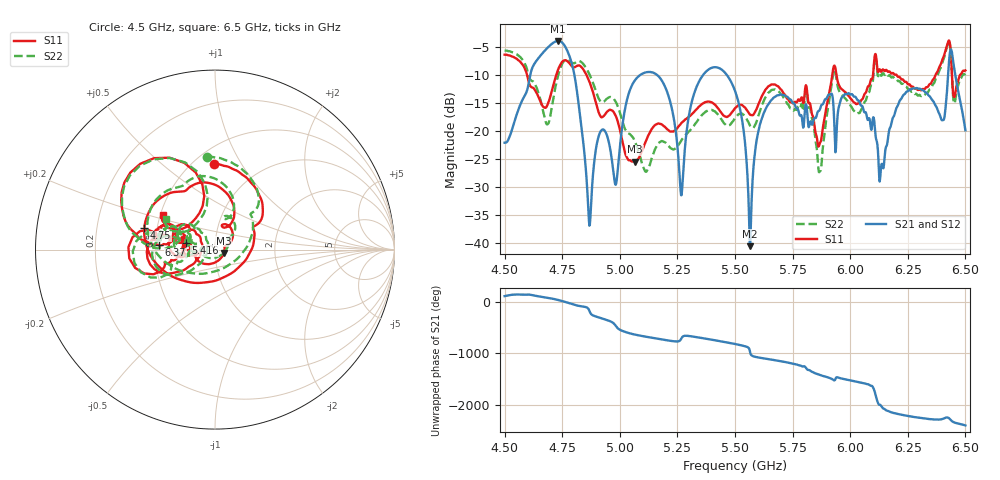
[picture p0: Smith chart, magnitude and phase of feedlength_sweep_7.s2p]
! TOUCHSTONE file generated by CST MICROWAVE STUDIO
! Date and time: Fri Nov 29 14:48:27 2024
! Project name: dual_circularly_polarized_waveguide_antenna.cst
! Parameters = {airCoaxOuterDiameter=3; chamferAngle=45; chamferWidth=24; connectorLength=10; drillingHoleDiameter=4.1; feedLength=120; flareDiameter=130; flareLength=70; gratingDistance=0; gratingGap=1.90274; outletLength=60; polarizerLength=134; probe1Diameter=1.3; probe1Distance=14.068; probe1Len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
! Header version: 2018
! Port assignment regex: !\s*Touchstone port\s*([0-9]+)\s*=\s*(CST MWS port|CST DS port)\s*([0-9]+|Zmin|Zmax)\s*\(\"(.*)\"\)(\s*mode\s*([0-9]+))?.*
! Touchstone port assignment:
! Touchstone port 1 = CST MWS port 1 ("Input1")
! Touchstone port 2 = CST MWS port 2 ("Input2")
# GHz S MA R 50
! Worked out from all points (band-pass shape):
!   1001 points, 4.5 GHz to 6.5 GHz, reference 50 ohm
!   highest |S21| = -3.99 dB at 4.732 GHz (marker M1); lowest = -40.6 dB at 5.566 GHz (marker M2)
!   |S21| within 3 dB of the highest: 4.648 GHz to 4.784 GHz (135.8 MHz wide, 2.88 % of centre); 6.430345 GHz to 6.444925 GHz (14.58 MHz wide, 0.226 % of centre)
!   lowest |S11| = -25.5 dB at 5.066 GHz (marker M3), VSWR 1.11, Z = 55.2 - j2 ohm
!   |S11| at or under -10 dB: 4.855 GHz to 5.922 GHz (1.068 GHz wide, 19.8 % of centre); 5.94 GHz to 6.099 GHz (158.8 MHz wide, 2.64 % of centre); 6.199 GHz to 6.371 GHz (171.8 MHz wide, 2.73 % of centre)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
!   |S22| runs from -27.4 to -4.0 dB; largest |S21 - S12| = 4.3e-06
!   S11 on the Smith chart (normalised r, x): 4.5 GHz: 0.63, +0.77; 4.75 GHz: 0.42, +0.12; 5.416 GHz: 0.72, +0.05; 6.37 GHz: 0.52, +0.03; 6.5 GHz: 0.52, +0.22
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4.5  0.476 90.5  0.07804 104.1  0.07804 104.1  0.5179 95.2
4.622  0.2421 27.2  0.3709 121.1  0.3709 121.1  0.2758 42.7
4.732  0.3494 -170.7  0.6316 30.1  0.6316 30.1  0.3101 -172.3
4.75  0.4116 163.3  0.6092 8.6  0.6092 8.6  0.3958 162.3
4.834  0.3684 93.2  0.106 -91.6  0.106 -91.6  0.4075 95.0
4.87  0.2674 67.4  0.01448 157.8  0.01448 157.8  0.3132 72.2
4.91  0.1426 62.3  0.09167 50.5  0.09167 50.5  0.1906 67.3
4.982  0.136 44.0  0.03294 -107.9  0.03294 -107.9  0.1815 52.9
5.066  0.05283 -20.0  0.282 80.2  0.282 80.2  0.07971 22.2
5.168  0.116 -156.9  0.3056 -2.3  0.3056 -2.3  0.07757 -163.8
5.266  0.1161 -163.8  0.02653 -4.2  0.02653 -4.2  0.08128 -174.0
5.416  0.1681 167.3  0.3682 -31.5  0.3682 -31.5  0.1467 161.1
5.5  0.1587 -179.2  0.2266 -100.8  0.2266 -100.8  0.1296 174.1
5.566  0.1387 175.5  0.009332 92.9  0.009332 92.9  0.1101 167.3
5.648  0.251 179.2  0.1763 -35.6  0.1763 -35.6  0.2207 178.7
5.834  0.1406 139.0  0.1132 81.7  0.1132 81.7  0.1283 128.5
5.868  0.07711 -177.0  0.1537 20.4  0.1537 20.4  0.04328 173.7
5.93  0.3794 -172.6  0.1299 -84.3  0.1299 -84.3  0.3505 -169.7
6.168  0.3369 160.2  0.09829 35.5  0.09829 35.5  0.3117 161.0
6.37  0.3123 175.6  0.1681 -122.1  0.1681 -122.1  0.2858 178.9
6.44  0.3704 101.0  0.5175 -146.0  0.5175 -146.0  0.3714 98.6
6.5  0.3447 146.5  0.1007 123.7  0.1007 123.7  0.3216 147.6
